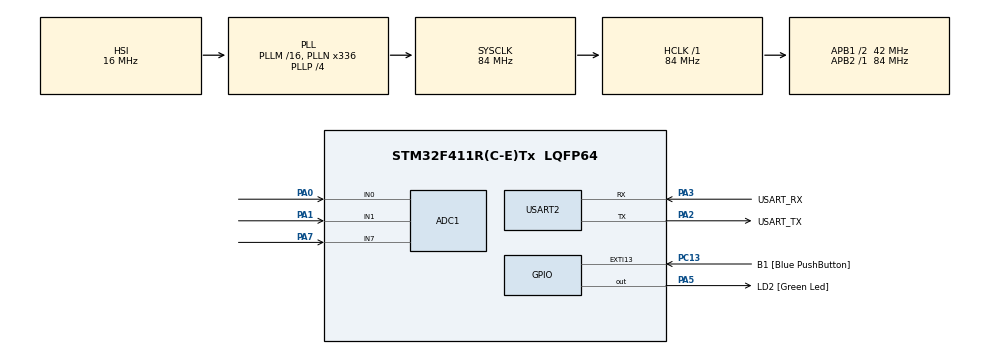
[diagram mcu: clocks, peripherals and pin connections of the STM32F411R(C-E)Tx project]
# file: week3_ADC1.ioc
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ADC1.Channel-1\#ChannelRegularConversion=ADC_CHANNEL_0
ADC1.DataAlign=ADC_DATAALIGN_RIGHT
ADC1.NbrOfConversionFlag=1
ADC1.Rank-1\#ChannelRegularConversion=1
ADC1.SamplingTime-1\#ChannelRegularConversion=ADC_SAMPLETIME_3CYCLES
ADC1.master=1
Mcu.Family=STM32F4
Mcu.Name=STM32F411R(C-E)Tx
Mcu.Package=LQFP64
NVIC.PriorityGroup=NVIC_PRIORITYGROUP_0
PA0-WKUP.Signal=ADCx_IN0
PA1.Signal=ADCx_IN1
PA13.GPIO_Label=TMS
PA13.Mode=Serial_Wire
PA13.Signal=SYS_JTMS-SWDIO
PA14.GPIO_Label=TCK
PA14.Mode=Serial_Wire
PA14.Signal=SYS_JTCK-SWCLK
PA2.GPIO_Label=USART_TX
PA2.Mode=Asynchronous
PA2.Signal=USART2_TX
PA3.GPIO_Label=USART_RX
PA3.Mode=Asynchronous
PA3.Signal=USART2_RX
PA5.GPIO_Label=LD2 [Green Led]
PA5.Signal=GPIO_Output
PA7.Signal=ADCx_IN7
PB3.GPIO_Label=SWO
PB3.Signal=SYS_JTDO-SWO
PC13-ANTI_TAMP.GPIO_Label=B1 [Blue PushButton]
PC13-ANTI_TAMP.GPIO_ModeDefaultEXTI=GPIO_MODE_IT_FALLING
PC13-ANTI_TAMP.Signal=GPXTI13
PC14-OSC32_IN.Mode=LSE-External-Oscillator
PC14-OSC32_IN.Signal=RCC_OSC32_IN
PC15-OSC32_OUT.Mode=LSE-External-Oscillator
PC15-OSC32_OUT.Signal=RCC_OSC32_OUT
PH0\ -\ OSC_IN.Mode=HSE-External-Clock-Source
PH0\ -\ OSC_IN.Signal=RCC_OSC_IN
PH1\ -\ OSC_OUT.Mode=HSE-External-Clock-Source
PH1\ -\ OSC_OUT.Signal=RCC_OSC_OUT
ProjectManager.HeapSize=0x200
ProjectManager.StackSize=0x400
ProjectManager.TargetToolchain=STM32CubeIDE
RCC.48MHZClocksFreq_Value=84000000
RCC.AHBFreq_Value=84000000
RCC.APB1CLKDivider=RCC_HCLK_DIV2
RCC.APB1Freq_Value=42000000
RCC.APB1TimFreq_Value=84000000
RCC.APB2Freq_Value=84000000
RCC.APB2TimFreq_Value=84000000
RCC.CortexFreq_Value=84000000
RCC.FLatency-AdvancedSettings=FLASH_LATENCY_2
RCC.HCLKFreq_Value=84000000
RCC.HSE_VALUE=8000000
RCC.HSI_VALUE=16000000
RCC.PLLN=336
RCC.PLLP=RCC_PLLP_DIV4
RCC.SYSCLKFreq_VALUE=84000000
RCC.SYSCLKSource=RCC_SYSCLKSOURCE_PLLCLK
RCC.VCOOutputFreq_Value=336000000
SH.ADCx_IN0.0=ADC1_IN0,IN0
SH.ADCx_IN1.0=ADC1_IN1,IN1
SH.ADCx_IN7.0=ADC1_IN7,IN7
USART2.VirtualMode=VM_ASYNC
VP_ADC1_TempSens_Input.Mode=IN-TempSens
board=NUCLEO-F411RE

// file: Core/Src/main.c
/* USER CODE BEGIN Header */
/**
  ******************************************************************************
  * @file           : main.c
  * @brief          : Main program body
  ******************************************************************************
  * @attention
  *
  * Copyright (c) 2022 STMicroelectronics.
  * All rights reserved.
  *
  * This software is licensed under terms that can be found in the LICENSE file
  * in the root directory of this software component.
  * If no LICENSE file comes with this software, it is provided AS-IS.
  *
  ******************************************************************************
  */
/* USER CODE END Header */
#include "main.h"

ADC_HandleTypeDef hadc1;

UART_HandleTypeDef huart2;

/* USER CODE BEGIN PV */
typedef struct{
	ADC_ChannelConfTypeDef Confix;
	uint16_t datt;
}ADCStructure;

ADCStructure ADCChannell[4];
/* USER CODE END PV */

void SystemClock_Config(void);
static void MX_GPIO_Init(void);
static void MX_USART2_UART_Init(void);
static void MX_ADC1_Init(void);
/* USER CODE BEGIN PFP */
void ADCReadUpdate();
void ADCConfigINIT();
void ExperimentiaPcs();
void DFFTogg();
float ADCTVolta(uint16_t btt);
float TempEquat(float Vs);
/* USER CODE END PFP */

int main(void)
{

  /* MCU Configuration--------------------------------------------------------*/

  /* Reset of all peripherals, Initializes the Flash interface and the Systick. */
   HAL_Init();

  /* Configure the system clock */
  SystemClock_Config();

  /* Initialize all configured peripherals */
  MX_GPIO_Init();
  MX_USART2_UART_Init();
  MX_ADC1_Init();
  /* USER CODE BEGIN 2 */

  // config ADC first time before while1
  ADCConfigINIT();

  /* USER CODE END 2 */

  /* Infinite loop */
  while (1)
  {

    /* USER CODE BEGIN 3 */
	ADCReadUpdate();
	ExperimentiaPcs();
	DFFTogg();
  }
  /* USER CODE END 3 */
}

void SystemClock_Config(void)
{
  RCC_OscInitTypeDef RCC_OscInitStruct = {0};
  RCC_ClkInitTypeDef RCC_ClkInitStruct = {0};

  /** Configure the main internal regulator output voltage
  */
  __HAL_RCC_PWR_CLK_ENABLE();
  __HAL_PWR_VOLTAGESCALING_CONFIG(PWR_REGULATOR_VOLTAGE_SCALE1);
  /** Initializes the RCC Oscillators according to the specified parameters
  * in the RCC_OscInitTypeDef structure.
  */
  RCC_OscInitStruct.OscillatorType = RCC_OSCILLATORTYPE_HSI;
  RCC_OscInitStruct.HSIState = RCC_HSI_ON;
  RCC_OscInitStruct.HSICalibrationValue = RCC_HSICALIBRATION_DEFAULT;
  RCC_OscInitStruct.PLL.PLLState = RCC_PLL_ON;
  RCC_OscInitStruct.PLL.PLLSource = RCC_PLLSOURCE_HSI;
  RCC_OscInitStruct.PLL.PLLM = 16;
  RCC_OscInitStruct.PLL.PLLN = 336;
  RCC_OscInitStruct.PLL.PLLP = RCC_PLLP_DIV4;
  RCC_OscInitStruct.PLL.PLLQ = 4;
  if (HAL_RCC_OscConfig(&RCC_OscInitStruct) != HAL_OK)
  {
    Error_Handler();
  }
  /** Initializes the CPU, AHB and APB buses clocks
  */
  RCC_ClkInitStruct.ClockType = RCC_CLOCKTYPE_HCLK|RCC_CLOCKTYPE_SYSCLK
                              |RCC_CLOCKTYPE_PCLK1|RCC_CLOCKTYPE_PCLK2;
  RCC_ClkInitStruct.SYSCLKSource = RCC_SYSCLKSOURCE_PLLCLK;
  RCC_ClkInitStruct.AHBCLKDivider = RCC_SYSCLK_DIV1;
  RCC_ClkInitStruct.APB1CLKDivider = RCC_HCLK_DIV2;
  RCC_ClkInitStruct.APB2CLKDivider = RCC_HCLK_DIV1;

  if (HAL_RCC_ClockConfig(&RCC_ClkInitStruct, FLASH_LATENCY_2) != HAL_OK)
  {
    Error_Handler();
  }
}

static void MX_ADC1_Init(void)
{

  ADC_ChannelConfTypeDef sConfig = {0};

  /** Configure the global features of the ADC (Clock, Resolution, Data Alignment and number of conversion)
  */
  hadc1.Instance = ADC1;
  hadc1.Init.ClockPrescaler = ADC_CLOCK_SYNC_PCLK_DIV4;
  hadc1.Init.Resolution = ADC_RESOLUTION_12B;
  hadc1.Init.ScanConvMode = DISABLE;
  hadc1.Init.ContinuousConvMode = DISABLE;
  hadc1.Init.DiscontinuousConvMode = DISABLE;
  hadc1.Init.ExternalTrigConvEdge = ADC_EXTERNALTRIGCONVEDGE_NONE;
  hadc1.Init.ExternalTrigConv = ADC_SOFTWARE_START;
  hadc1.Init.DataAlign = ADC_DATAALIGN_RIGHT;
  hadc1.Init.NbrOfConversion = 1;
  hadc1.Init.DMAContinuousRequests = DISABLE;
  hadc1.Init.EOCSelection = ADC_EOC_SINGLE_CONV;
  if (HAL_ADC_Init(&hadc1) != HAL_OK)
  {
    Error_Handler();
  }
  /** Configure for the selected ADC regular channel its corresponding rank in the sequencer and its sample time.
  */
  sConfig.Channel = ADC_CHANNEL_0;
  sConfig.Rank = 1;
  sConfig.SamplingTime = ADC_SAMPLETIME_3CYCLES;
  if (HAL_ADC_ConfigChannel(&hadc1, &sConfig) != HAL_OK)
  {
    Error_Handler();
  }

}

static void MX_USART2_UART_Init(void)
{

  huart2.Instance = USART2;
  huart2.Init.BaudRate = 115200;
  huart2.Init.WordLength = UART_WORDLENGTH_8B;
  huart2.Init.StopBits = UART_STOPBITS_1;
  huart2.Init.Parity = UART_PARITY_NONE;
  huart2.Init.Mode = UART_MODE_TX_RX;
  huart2.Init.HwFlowCtl = UART_HWCONTROL_NONE;
  huart2.Init.OverSampling = UART_OVERSAMPLING_16;
  if (HAL_UART_Init(&huart2) != HAL_OK)
  {
    Error_Handler();
  }

}

static void MX_GPIO_Init(void)
{
  GPIO_InitTypeDef GPIO_InitStruct = {0};

  /* GPIO Ports Clock Enable */
  __HAL_RCC_GPIOC_CLK_ENABLE();
  __HAL_RCC_GPIOH_CLK_ENABLE();
  __HAL_RCC_GPIOA_CLK_ENABLE();
  __HAL_RCC_GPIOB_CLK_ENABLE();

  /*Configure GPIO pin Output Level */
  HAL_GPIO_WritePin(LD2_GPIO_Port, LD2_Pin, GPIO_PIN_RESET);

  /*Configure GPIO pin : B1_Pin */
  GPIO_InitStruct.Pin = B1_Pin;
  GPIO_InitStruct.Mode = GPIO_MODE_IT_FALLING;
  GPIO_InitStruct.Pull = GPIO_NOPULL;
  HAL_GPIO_Init(B1_GPIO_Port, &GPIO_InitStruct);

  /*Configure GPIO pin : LD2_Pin */
  GPIO_InitStruct.Pin = LD2_Pin;
  GPIO_InitStruct.Mode = GPIO_MODE_OUTPUT_PP;
  GPIO_InitStruct.Pull = GPIO_NOPULL;
  GPIO_InitStruct.Speed = GPIO_SPEED_FREQ_LOW;
  HAL_GPIO_Init(LD2_GPIO_Port, &GPIO_InitStruct);

}

/* USER CODE BEGIN 4 */

void ADCConfigINIT(){
	// init style at struct ADCStructure
	// Config PA0
	ADCChannell[0].Confix.Channel = ADC_CHANNEL_0;
	ADCChannell[0].Confix.Rank = 1;
	ADCChannell[0].Confix.SamplingTime = ADC_SAMPLETIME_3CYCLES;
	// Config PA1
	ADCChannell[1].Confix.Channel = ADC_CHANNEL_1;
	ADCChannell[1].Confix.Rank = 1;
	ADCChannell[1].Confix.SamplingTime = ADC_SAMPLETIME_3CYCLES;
	// Config Temp (internal)
	ADCChannell[2].Confix.Channel = ADC_CHANNEL_TEMPSENSOR;
	ADCChannell[2].Confix.Rank = 1;
	ADCChannell[2].Confix.SamplingTime = ADC_SAMPLETIME_3CYCLES;

	// Config PA1
	ADCChannell[3].Confix.Channel = ADC_CHANNEL_7;
	ADCChannell[3].Confix.Rank = 1;
	ADCChannell[3].Confix.SamplingTime = ADC_SAMPLETIME_3CYCLES;
}
uint16_t ADCDataRaw = 0;
void ADCReadUpdate()
{
	/*
	static ADC_ChannelConfTypeDef sConfigura;
	sConfigura.Channel = ADC_CHANNEL_0;
	sConfigura.Rank = 1;
	sConfigura.SamplingTime = ADC_SAMPLETIME_144CYCLES;*/

	for(int i=0;i<4;i++){
	// Setting channel
	HAL_ADC_ConfigChannel(&hadc1, &ADCChannell[i].Confix);

	//start ADC sampling
	HAL_ADC_Start(&hadc1);

	//wait for sampling-> conversion , check if error timeout
	if(HAL_ADC_PollForConversion(&hadc1, 10)==HAL_OK) //10mSec timeout
	{
		//ReadData to confix channel
		ADCChannell[i].datt = HAL_ADC_GetValue(&hadc1);
	}

	//stop ADC sampling
	HAL_ADC_Stop(&hadc1);
	}
}

float poten = 0;
float Tmpraw = 0;
uint16_t potx = 0;
//uint8_t btn = 0;
static uint8_t btncnt=0;
float out;

void ExperimentiaPcs(){
	poten = ADCTVolta(ADCChannell[0].datt);
	Tmpraw = TempEquat(ADCTVolta(ADCChannell[2].datt));
	potx = ADCChannell[0].datt;

	if(btncnt == 0){
		out = poten;
	}else{out = Tmpraw;}

}

float ADCTVolta(uint16_t btt){
	// convert 0-4096 ADC bit -> 0-3.3V
	return btt*3.3/4096;
}

float TempEquat(float Vs){
	//Vs = V tmp read , V25= 0.76V, Avg_slope = 2.5 mV
	return ((Vs-0.76)/(2.5*0.001))+25;
}

void DFFTogg(){
	static GPIO_PinState BtnArl[2] = {0};
	BtnArl[0] =  HAL_GPIO_ReadPin(GPIOC, GPIO_PIN_13); // Button Read P C 13
	if (BtnArl[1] == GPIO_PIN_SET && BtnArl[0] == GPIO_PIN_RESET) // Falling Edge Det.
	{
	  btncnt++;
	}
	if(btncnt >= 2){btncnt = 0;}
	BtnArl[1] = BtnArl[0];
}
/* USER CODE END 4 */

void Error_Handler(void)
{
  __disable_irq();
  while (1)
  {
  }
}
